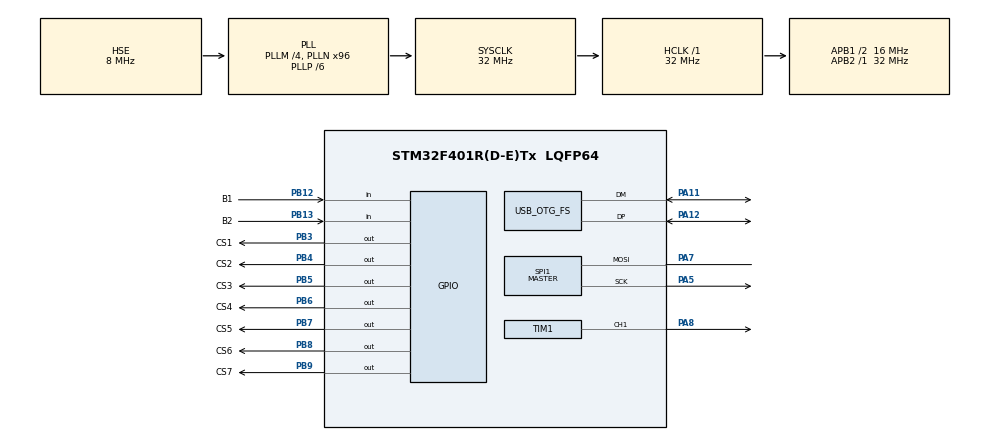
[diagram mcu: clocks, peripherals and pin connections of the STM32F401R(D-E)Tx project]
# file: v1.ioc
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FREERTOS.Tasks01=defaultTask,0,128,StartDefaultTask,Default,NULL,Dynamic,NULL,NULL;commTask,0,256,StartCommTask,Default,NULL,Dynamic,NULL,NULL;sensorTask,0,128,StartSensorTask,Default,NULL,Dynamic,NULL,NULL;motorTask,-3,128,StartMotorTask,Default,NULL,Dynamic,NULL,NULL
FREERTOS.configUSE_NEWLIB_REENTRANT=1
Mcu.Family=STM32F4
Mcu.Name=STM32F401R(D-E)Tx
Mcu.Package=LQFP64
NVIC.OTG_FS_IRQn=true\:5\:0\:false\:false\:true\:true\:true\:true\:true
NVIC.PriorityGroup=NVIC_PRIORITYGROUP_4
NVIC.TIM4_IRQn=true\:15\:0\:false\:false\:true\:false\:false\:true\:true
NVIC.TimeBase=TIM4_IRQn
NVIC.TimeBaseIP=TIM4
PA11.Mode=Device_Only
PA11.Signal=USB_OTG_FS_DM
PA12.Mode=Device_Only
PA12.Signal=USB_OTG_FS_DP
PA13.Mode=Serial_Wire
PA13.Signal=SYS_JTMS-SWDIO
PA14.Mode=Serial_Wire
PA14.Signal=SYS_JTCK-SWCLK
PA5.Mode=Simplex_Bidirectional_Master
PA5.Signal=SPI1_SCK
PA7.Mode=Simplex_Bidirectional_Master
PA7.Signal=SPI1_MOSI
PA8.Signal=S_TIM1_CH1
PB12.GPIO_Label=B1
PB12.Signal=GPIO_Input
PB13.GPIO_Label=B2
PB13.Signal=GPIO_Input
PB3.GPIO_Label=CS1
PB3.Signal=GPIO_Output
PB4.GPIO_Label=CS2
PB4.Signal=GPIO_Output
PB5.GPIO_Label=CS3
PB5.Signal=GPIO_Output
PB6.GPIO_Label=CS4
PB6.Signal=GPIO_Output
PB7.GPIO_Label=CS5
PB7.Signal=GPIO_Output
PB8.GPIO_Label=CS6
PB8.Signal=GPIO_Output
PB9.GPIO_Label=CS7
PB9.Signal=GPIO_Output
PH0\ -\ OSC_IN.Mode=HSE-External-Oscillator
PH0\ -\ OSC_IN.Signal=RCC_OSC_IN
PH1\ -\ OSC_OUT.Mode=HSE-External-Oscillator
PH1\ -\ OSC_OUT.Signal=RCC_OSC_OUT
ProjectManager.HeapSize=0x200
ProjectManager.StackSize=0x400
ProjectManager.TargetToolchain=STM32CubeIDE
RCC.48MHZClocksFreq_Value=48000000
RCC.AHBFreq_Value=32000000
RCC.APB1CLKDivider=RCC_HCLK_DIV2
RCC.APB1Freq_Value=16000000
RCC.APB1TimFreq_Value=32000000
RCC.APB2Freq_Value=32000000
RCC.APB2TimFreq_Value=32000000
RCC.CortexFreq_Value=32000000
RCC.HCLKFreq_Value=32000000
RCC.HSE_VALUE=8000000
RCC.HSI_VALUE=16000000
RCC.PLLM=4
RCC.PLLN=96
RCC.PLLP=RCC_PLLP_DIV6
RCC.RCC_TIM_PRescaler_Selection=RCC_TIMPRES_DESACTIVATED
RCC.SYSCLKFreq_VALUE=32000000
RCC.SYSCLKSource=RCC_SYSCLKSOURCE_PLLCLK
RCC.VCOOutputFreq_Value=192000000
SH.S_TIM1_CH1.0=TIM1_CH1,PWM Generation1 CH1
SPI1.BaudRatePrescaler=SPI_BAUDRATEPRESCALER_8
SPI1.CLKPhase=SPI_PHASE_2EDGE
SPI1.CLKPolarity=SPI_POLARITY_LOW
SPI1.DataSize=SPI_DATASIZE_16BIT
SPI1.Direction=SPI_DIRECTION_1LINE
SPI1.Mode=SPI_MODE_MASTER
SPI1.VirtualType=VM_MASTER
TIM1.Channel-PWM\ Generation1\ CH1=TIM_CHANNEL_1
TIM1.Period=3600
USB_DEVICE.CLASS_NAME_FS=CDC
USB_DEVICE.VirtualMode-CDC_FS=Cdc
USB_DEVICE.VirtualModeFS=Cdc_FS
USB_OTG_FS.Sof_enable=DISABLE
USB_OTG_FS.VirtualMode=Device_Only
VP_FREERTOS_VS_CMSIS_V1.Mode=CMSIS_V1
VP_SYS_VS_tim4.Mode=TIM4
VP_USB_DEVICE_VS_USB_DEVICE_CDC_FS.Mode=CDC_FS
board=custom

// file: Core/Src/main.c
/* USER CODE BEGIN Header */
/**
  ******************************************************************************
  * @file           : main.c
  * @brief          : Main program body
  ******************************************************************************
  * @attention
  *
  * <h2><center>&copy; Copyright (c) 2020 STMicroelectronics.
  * All rights reserved.</center></h2>
  *
  * This software component is licensed by ST under BSD 3-Clause license,
  * the "License"; You may not use this file except in compliance with the
  * License. You may obtain a copy of the License at:
  *                        opensource.org/licenses/BSD-3-Clause
  *
  ******************************************************************************
  */
/* USER CODE END Header */
#include "main.h"
#include "cmsis_os.h"
#include "usb_device.h"

/* USER CODE BEGIN Includes */
#include "DTek_TLE5012B.h"
/* USER CODE END Includes */

SPI_HandleTypeDef hspi1;

TIM_HandleTypeDef htim1;

osThreadId defaultTaskHandle;
osThreadId commTaskHandle;
osThreadId sensorTaskHandle;
osThreadId motorTaskHandle;
/* USER CODE BEGIN PV */

// Sensor communication
errorTypes checkError = NO_ERROR;
errorTypes checkError2 = NO_ERROR;
errorTypes checkError3 = NO_ERROR;
errorTypes checkError4 = NO_ERROR;
errorTypes checkError5 = NO_ERROR;
errorTypes checkError6 = NO_ERROR;
errorTypes checkError7 = NO_ERROR;

uint16_t errorCounter = 0;

// Joint angles
static double angle1_raw = 0.0;
static double angle2_raw = 0.0;
static double angle3_raw = 0.0;
static double angle4_raw = 0.0;
static double angle5_raw = 0.0;
static double angle6_raw = 0.0;
static double angle7_raw = 0.0;

static double angle1_temp = 0.0;
static double angle2_temp = 0.0;
static double angle3_temp = 0.0;
static double angle4_temp = 0.0;
static double angle5_temp = 0.0;
static double angle6_temp = 0.0;
static double angle7_temp = 0.0;

static double angle1 = 0.0;
static double angle2 = 0.0;
static double angle3 = 0.0;
static double angle4 = 0.0;
static double angle5 = 0.0;
static double angle6 = 0.0;
static double angle7 = 0.0;

static double offset1 = -104.25;//0.0;
static double offset2 = 32.37;//0.0;
static double offset3 = 111.05;//0.0;
static double offset4 = 11.1;//0.0;
static double offset5 = -176.17;//0.0;
static double offset6 = 95.75;//0.0;
static double offset7 = 0.0;

// Feedback
static uint8_t feedback = 0;
static uint8_t feedback_temp = 0;
static uint8_t motorPattern = 0;

// Button status
static uint8_t b1Status = 0;
static uint8_t b2Status = 0;

// USB CDC communication
char txBuf[256];
char rxBuf[256];
uint8_t receiveState = 1;
static volatile uint32_t timeStamp = 0;
static volatile uint32_t timeOutGuard = 0;
static volatile uint32_t timeOutGuardMax = 0;
/* USER CODE END PV */

void SystemClock_Config(void);
static void MX_GPIO_Init(void);
static void MX_SPI1_Init(void);
static void MX_TIM1_Init(void);
void StartDefaultTask(void const * argument);
void StartCommTask(void const * argument);
void StartSensorTask(void const * argument);
void StartMotorTask(void const * argument);

/* USER CODE BEGIN 0 */
extern uint8_t CDC_Transmit_FS(uint8_t* Buf, uint16_t Len);
/* USER CODE END 0 */

int main(void)
{

  /* MCU Configuration--------------------------------------------------------*/

  /* Reset of all peripherals, Initializes the Flash interface and the Systick. */
  HAL_Init();

  /* Configure the system clock */
  SystemClock_Config();

  /* Initialize all configured peripherals */
  MX_GPIO_Init();
  MX_SPI1_Init();
  MX_TIM1_Init();
  /* USER CODE BEGIN 2 */
  HAL_TIM_PWM_Start(&htim1, TIM_CHANNEL_1);
  TIM1->CCR1 = 0*3600/100;
  /* USER CODE END 2 */

  /* Create the thread(s) */
  /* definition and creation of defaultTask */
  osThreadDef(defaultTask, StartDefaultTask, osPriorityNormal, 0, 128);
  defaultTaskHandle = osThreadCreate(osThread(defaultTask), NULL);

  /* definition and creation of commTask */
  osThreadDef(commTask, StartCommTask, osPriorityNormal, 0, 256);
  commTaskHandle = osThreadCreate(osThread(commTask), NULL);

  /* definition and creation of sensorTask */
  osThreadDef(sensorTask, StartSensorTask, osPriorityNormal, 0, 128);
  sensorTaskHandle = osThreadCreate(osThread(sensorTask), NULL);

  /* definition and creation of motorTask */
  osThreadDef(motorTask, StartMotorTask, osPriorityIdle, 0, 128);
  motorTaskHandle = osThreadCreate(osThread(motorTask), NULL);

  /* Start scheduler */
  osKernelStart();

  /* We should never get here as control is now taken by the scheduler */
  /* Infinite loop */
  while (1)
  {

  }
}

void SystemClock_Config(void)
{
  RCC_OscInitTypeDef RCC_OscInitStruct = {0};
  RCC_ClkInitTypeDef RCC_ClkInitStruct = {0};

  /** Configure the main internal regulator output voltage
  */
  __HAL_RCC_PWR_CLK_ENABLE();
  __HAL_PWR_VOLTAGESCALING_CONFIG(PWR_REGULATOR_VOLTAGE_SCALE2);

  /** Initializes the RCC Oscillators according to the specified parameters
  * in the RCC_OscInitTypeDef structure.
  */
  RCC_OscInitStruct.OscillatorType = RCC_OSCILLATORTYPE_HSE;
  RCC_OscInitStruct.HSEState = RCC_HSE_ON;
  RCC_OscInitStruct.PLL.PLLState = RCC_PLL_ON;
  RCC_OscInitStruct.PLL.PLLSource = RCC_PLLSOURCE_HSE;
  RCC_OscInitStruct.PLL.PLLM = 4;
  RCC_OscInitStruct.PLL.PLLN = 96;
  RCC_OscInitStruct.PLL.PLLP = RCC_PLLP_DIV6;
  RCC_OscInitStruct.PLL.PLLQ = 4;
  if (HAL_RCC_OscConfig(&RCC_OscInitStruct) != HAL_OK)
  {
    Error_Handler();
  }

  /** Initializes the CPU, AHB and APB buses clocks
  */
  RCC_ClkInitStruct.ClockType = RCC_CLOCKTYPE_HCLK|RCC_CLOCKTYPE_SYSCLK
                              |RCC_CLOCKTYPE_PCLK1|RCC_CLOCKTYPE_PCLK2;
  RCC_ClkInitStruct.SYSCLKSource = RCC_SYSCLKSOURCE_PLLCLK;
  RCC_ClkInitStruct.AHBCLKDivider = RCC_SYSCLK_DIV1;
  RCC_ClkInitStruct.APB1CLKDivider = RCC_HCLK_DIV2;
  RCC_ClkInitStruct.APB2CLKDivider = RCC_HCLK_DIV1;

  if (HAL_RCC_ClockConfig(&RCC_ClkInitStruct, FLASH_LATENCY_1) != HAL_OK)
  {
    Error_Handler();
  }
}

static void MX_SPI1_Init(void)
{

  /* SPI1 parameter configuration*/
  hspi1.Instance = SPI1;
  hspi1.Init.Mode = SPI_MODE_MASTER;
  hspi1.Init.Direction = SPI_DIRECTION_1LINE;
  hspi1.Init.DataSize = SPI_DATASIZE_16BIT;
  hspi1.Init.CLKPolarity = SPI_POLARITY_LOW;
  hspi1.Init.CLKPhase = SPI_PHASE_2EDGE;
  hspi1.Init.NSS = SPI_NSS_SOFT;
  hspi1.Init.BaudRatePrescaler = SPI_BAUDRATEPRESCALER_8;
  hspi1.Init.FirstBit = SPI_FIRSTBIT_MSB;
  hspi1.Init.TIMode = SPI_TIMODE_DISABLE;
  hspi1.Init.CRCCalculation = SPI_CRCCALCULATION_DISABLE;
  hspi1.Init.CRCPolynomial = 10;
  if (HAL_SPI_Init(&hspi1) != HAL_OK)
  {
    Error_Handler();
  }

}

static void MX_TIM1_Init(void)
{

  TIM_MasterConfigTypeDef sMasterConfig = {0};
  TIM_OC_InitTypeDef sConfigOC = {0};
  TIM_BreakDeadTimeConfigTypeDef sBreakDeadTimeConfig = {0};

  htim1.Instance = TIM1;
  htim1.Init.Prescaler = 0;
  htim1.Init.CounterMode = TIM_COUNTERMODE_UP;
  htim1.Init.Period = 3600;
  htim1.Init.ClockDivision = TIM_CLOCKDIVISION_DIV1;
  htim1.Init.RepetitionCounter = 0;
  htim1.Init.AutoReloadPreload = TIM_AUTORELOAD_PRELOAD_DISABLE;
  if (HAL_TIM_PWM_Init(&htim1) != HAL_OK)
  {
    Error_Handler();
  }
  sMasterConfig.MasterOutputTrigger = TIM_TRGO_RESET;
  sMasterConfig.MasterSlaveMode = TIM_MASTERSLAVEMODE_DISABLE;
  if (HAL_TIMEx_MasterConfigSynchronization(&htim1, &sMasterConfig) != HAL_OK)
  {
    Error_Handler();
  }
  sConfigOC.OCMode = TIM_OCMODE_PWM1;
  sConfigOC.Pulse = 0;
  sConfigOC.OCPolarity = TIM_OCPOLARITY_HIGH;
  sConfigOC.OCNPolarity = TIM_OCNPOLARITY_HIGH;
  sConfigOC.OCFastMode = TIM_OCFAST_DISABLE;
  sConfigOC.OCIdleState = TIM_OCIDLESTATE_RESET;
  sConfigOC.OCNIdleState = TIM_OCNIDLESTATE_RESET;
  if (HAL_TIM_PWM_ConfigChannel(&htim1, &sConfigOC, TIM_CHANNEL_1) != HAL_OK)
  {
    Error_Handler();
  }
  sBreakDeadTimeConfig.OffStateRunMode = TIM_OSSR_DISABLE;
  sBreakDeadTimeConfig.OffStateIDLEMode = TIM_OSSI_DISABLE;
  sBreakDeadTimeConfig.LockLevel = TIM_LOCKLEVEL_OFF;
  sBreakDeadTimeConfig.DeadTime = 0;
  sBreakDeadTimeConfig.BreakState = TIM_BREAK_DISABLE;
  sBreakDeadTimeConfig.BreakPolarity = TIM_BREAKPOLARITY_HIGH;
  sBreakDeadTimeConfig.AutomaticOutput = TIM_AUTOMATICOUTPUT_DISABLE;
  if (HAL_TIMEx_ConfigBreakDeadTime(&htim1, &sBreakDeadTimeConfig) != HAL_OK)
  {
    Error_Handler();
  }
  HAL_TIM_MspPostInit(&htim1);

}

static void MX_GPIO_Init(void)
{
  GPIO_InitTypeDef GPIO_InitStruct = {0};

  /* GPIO Ports Clock Enable */
  __HAL_RCC_GPIOH_CLK_ENABLE();
  __HAL_RCC_GPIOA_CLK_ENABLE();
  __HAL_RCC_GPIOB_CLK_ENABLE();

  /*Configure GPIO pin Output Level */
  HAL_GPIO_WritePin(GPIOB, CS1_Pin|CS2_Pin|CS3_Pin|CS4_Pin
                          |CS5_Pin|CS6_Pin|CS7_Pin, GPIO_PIN_RESET);

  /*Configure GPIO pins : B1_Pin B2_Pin */
  GPIO_InitStruct.Pin = B1_Pin|B2_Pin;
  GPIO_InitStruct.Mode = GPIO_MODE_INPUT;
  GPIO_InitStruct.Pull = GPIO_NOPULL;
  HAL_GPIO_Init(GPIOB, &GPIO_InitStruct);

  /*Configure GPIO pins : CS1_Pin CS2_Pin CS3_Pin CS4_Pin
                           CS5_Pin CS6_Pin CS7_Pin */
  GPIO_InitStruct.Pin = CS1_Pin|CS2_Pin|CS3_Pin|CS4_Pin
                          |CS5_Pin|CS6_Pin|CS7_Pin;
  GPIO_InitStruct.Mode = GPIO_MODE_OUTPUT_PP;
  GPIO_InitStruct.Pull = GPIO_NOPULL;
  GPIO_InitStruct.Speed = GPIO_SPEED_FREQ_LOW;
  HAL_GPIO_Init(GPIOB, &GPIO_InitStruct);

}

/* USER CODE BEGIN 4 */

/**
  * @brief EXTI handler
  * @param GPIO_Pin: Triggered pin
  * @retval none
  */
void HAL_GPIO_EXTI_Callback(uint16_t GPIO_Pin)
{
  switch ( GPIO_Pin ) {
  case GPIO_PIN_0:
    if (HAL_GPIO_ReadPin(GPIOB, GPIO_PIN_0)){
      b1Status = 0;
    }
    else {
      b1Status = 1;
    }
    break;
  case GPIO_PIN_1:
	if (HAL_GPIO_ReadPin(GPIOB, GPIO_PIN_1)){
	  b2Status = 0;
	}
	else {
	  b2Status = 1;
	}
	break;
  default:
	break;
  }
}

/**
  * @brief Count characters in char array
  * @param ptr: pointer to char array
  * @retval Number of characters in array
  */
uint16_t SizeofCharArray(char *ptr)
{
  /* Local variables */
  uint16_t len = 0;

  /* Search until end char */
  while (ptr[len] != '\0') {
    len++;
  }
  return len;
}

/* USER CODE END 4 */

void StartDefaultTask(void const * argument)
{
  /* init code for USB_DEVICE */
  MX_USB_DEVICE_Init();
  /* USER CODE BEGIN 5 */
  /* Infinite loop */
  for(;;)
  {
    osDelay(200);
    HAL_GPIO_TogglePin(GPIOC, GPIO_PIN_13);
  }
  /* USER CODE END 5 */
}

void StartCommTask(void const * argument)
{
  /* USER CODE BEGIN StartCommTask */
  uint16_t Len = 0;
  /* Infinite loop */
  for(;;)
  {
	if (receiveState == 1){
	  // Dummy command
	  if ((rxBuf[0] == 'K') && (rxBuf[1] == 'A') && (rxBuf[2] == '\r')){ // KA = Keep alive (response echo)
		__ASM("NOP");
	  }
	  // Clear error counter
	  else if ((rxBuf[0] == 'C') && (rxBuf[1] == 'E') && (rxBuf[2] == 'C') && (rxBuf[3] == '\r')){
		errorCounter = 0;
		sprintf(txBuf, "OK;%s\r\n", rxBuf);
		Len = SizeofCharArray((char*)txBuf);
		CDC_Transmit_FS((uint8_t*)txBuf, Len);
	  }
	  // Read error counter
	  else if ((rxBuf[0] == 'R') && (rxBuf[1] == 'E') && (rxBuf[2] == 'C') && (rxBuf[3] == '\r')){
		sprintf(txBuf, "OK;%s;%d\r\n", rxBuf, errorCounter);
		Len = SizeofCharArray((char*)txBuf);
		CDC_Transmit_FS((uint8_t*)txBuf, Len);
	  }
	  // Read joint offsets
	  else if ((rxBuf[0] == 'R') && (rxBuf[1] == 'O') && (rxBuf[3] == '\r')){
		if (rxBuf[2] == '1') {
			sprintf(txBuf, "OK;%s;%d\r\n", rxBuf, (int16_t)(offset1*100));
		}
		else if (rxBuf[2] == '2') {
			sprintf(txBuf, "OK;%s;%d\r\n", rxBuf, (int16_t)(offset2*100));
		}
		else if (rxBuf[2] == '3') {
			sprintf(txBuf, "OK;%s;%d\r\n", rxBuf, (int16_t)(offset3*100));
		}
		else if (rxBuf[2] == '4') {
			sprintf(txBuf, "OK;%s;%d\r\n", rxBuf, (int16_t)(offset4*100));
		}
		else if (rxBuf[2] == '5') {
			sprintf(txBuf, "OK;%s;%d\r\n", rxBuf, (int16_t)(offset5*100));
		}
		else if (rxBuf[2] == '6') {
			sprintf(txBuf, "OK;%s;%d\r\n", rxBuf, (int16_t)(offset6*100));
		}
		else if (rxBuf[2] == '7') {
			sprintf(txBuf, "OK;%s;%d\r\n", rxBuf, (int16_t)(offset7*100));
		}
		else {
			sprintf(txBuf, "ERR1;%s\r\n", rxBuf);
		}
		Len = SizeofCharArray((char*)txBuf);
		CDC_Transmit_FS((uint8_t*)txBuf, Len);
	  }
	  // Set joint offsets
	  else if ((rxBuf[0] == 'S') && (rxBuf[1] == 'O') && (rxBuf[3] == '\r')){
		//ToDo: implement writing offsets
		sprintf(txBuf, "OK;%s;%s\r\n", rxBuf, "To be implemented...");
		Len = SizeofCharArray((char*)txBuf);
		CDC_Transmit_FS((uint8_t*)txBuf, Len);
	  }
	  // Read device status, returns joint angles and button status
	  else if ((rxBuf[0] == 'R') && (rxBuf[1] == 'D') && (rxBuf[2] == 'S') && (rxBuf[3] == '\r')){
		sprintf(txBuf, "OK;%s;%d;%d;%d;%d;%d;%d;%d;%d;%d\r\n", rxBuf, (int16_t)(angle1*100), (int16_t)(angle2*100), (int16_t)(angle3*100), (int16_t)(angle4*100), (int16_t)(angle5*100), (int16_t)(angle6*100), (int16_t)(angle7*100), b1Status, b2Status);
		Len = SizeofCharArray((char*)txBuf);
		CDC_Transmit_FS((uint8_t*)txBuf, Len);
	  }
	  // Read feedback status 0...100
	  else if ((rxBuf[0] == 'R') && (rxBuf[1] == 'F') && (rxBuf[2] == 'B') && (rxBuf[3] == '\r')){
		sprintf(txBuf, "OK;%s;%d\r\n", rxBuf, feedback);
		Len = SizeofCharArray((char*)txBuf);
		CDC_Transmit_FS((uint8_t*)txBuf, Len);
	  }
	  // Set feedback status 0...100
	  else if ((rxBuf[0] == 'S') && (rxBuf[1] == 'F') && (rxBuf[2] == 'B') && (rxBuf[6] == '\r')){
		feedback_temp = (int16_t)((rxBuf[3]  - '0')*100 + (rxBuf[4]  - '0')*10 + (rxBuf[5]  - '0')*1);
		if (feedback_temp > 100) feedback_temp = 100;
		feedback = feedback_temp;
		sprintf(txBuf, "OK;%s;%d\r\n", rxBuf, feedback);
		Len = SizeofCharArray((char*)txBuf);
		CDC_Transmit_FS((uint8_t*)txBuf, Len);
	  }
	  // Unrecognized command
      else{
        sprintf(txBuf, "ERR2;%s\r\n", rxBuf);
        Len = SizeofCharArray((char*)txBuf);
        CDC_Transmit_FS((uint8_t*)txBuf, Len);
      }
      timeStamp = HAL_GetTick();
      receiveState = 0;
    }

    timeOutGuard = HAL_GetTick() - timeStamp;
    if (timeOutGuard > timeOutGuardMax){
      timeOutGuardMax = timeOutGuard;
    }

    osDelay(10);
  }
  /* USER CODE END StartCommTask */
}

void StartSensorTask(void const * argument)
{
  /* USER CODE BEGIN StartSensorTask */
  SPI_CS_Disable(1);
  SPI_CS_Disable(2);
  SPI_CS_Disable(3);
  SPI_CS_Disable(4);
  SPI_CS_Disable(5);
  SPI_CS_Disable(6);
  SPI_CS_Disable(7);

  checkError = NO_ERROR;
  checkError = readBlockCRC(1);
  if (checkError != NO_ERROR) errorCounter++;
  HAL_Delay(1);

  checkError2 = NO_ERROR;
  checkError2 = readBlockCRC(2);
  if (checkError2 != NO_ERROR) errorCounter++;
  HAL_Delay(1);

  checkError3 = NO_ERROR;
  checkError3 = readBlockCRC(3);
  if (checkError3 != NO_ERROR) errorCounter++;
  HAL_Delay(1);

  checkError4 = NO_ERROR;
  checkError4 = readBlockCRC(4);
  if (checkError4 != NO_ERROR) errorCounter++;
  HAL_Delay(1);

  checkError5 = NO_ERROR;
  checkError5 = readBlockCRC(5);
  if (checkError5 != NO_ERROR) errorCounter++;
  HAL_Delay(1);

  checkError6 = NO_ERROR;
  checkError6 = readBlockCRC(6);
  if (checkError6 != NO_ERROR) errorCounter++;
  HAL_Delay(1);

  checkError7 = NO_ERROR;
  checkError7 = readBlockCRC(7);
  if (checkError7 != NO_ERROR) errorCounter++;
  HAL_Delay(1);

  /* Infinite loop */
  for(;;)
  {
    osDelay(10);

    checkError = NO_ERROR;
    checkError = getAngleValue(&angle1_raw,1);
    if (checkError != NO_ERROR) errorCounter++;
    HAL_Delay(1);

    checkError2 = NO_ERROR;
    checkError2 = getAngleValue(&angle2_raw,2);
    if (checkError2 != NO_ERROR) errorCounter++;
    HAL_Delay(1);

    checkError3 = NO_ERROR;
    checkError3 = getAngleValue(&angle3_raw,3);
    if (checkError3 != NO_ERROR) errorCounter++;
    HAL_Delay(1);

    checkError4 = NO_ERROR;
    checkError4 = getAngleValue(&angle4_raw,4);
    if (checkError4 != NO_ERROR) errorCounter++;

    checkError5 = NO_ERROR;
    checkError5 = getAngleValue(&angle5_raw,5);
    if (checkError5 != NO_ERROR) errorCounter++;
    HAL_Delay(1);

    checkError6 = NO_ERROR;
    checkError6 = getAngleValue(&angle6_raw,6);
    if (checkError6 != NO_ERROR) errorCounter++;

    checkError7 = NO_ERROR;
    checkError7 = getAngleValue(&angle7_raw,7);
    if (checkError7 != NO_ERROR) errorCounter++;

    // processing raw angles

    angle1_temp = angle1_raw - offset1;
    if (angle1_temp >= 0){
    	angle1 = angle1_temp;
    }
    else{
    	angle1 = -1 * (360 - (360 + angle1_temp));
    }

    angle2_temp = -1 * (angle2_raw - offset2);
    if (angle2_temp >= 0){
    	angle2 = angle2_temp;
    }
    else{
    	angle2 = -1 * (360 - (360 + angle2_temp));
    }

// PROBLÉMA
    angle3_temp = angle3_raw;
    if (angle3_temp >= 0){
    	angle3 = angle3_temp - offset3;
    }
    else{
    	angle3 = angle3_temp + offset3;
    }
// PROBLÉMA

    angle4_temp = -1 * (angle4_raw - offset4);
    if (angle4_temp >= 0){
    	angle4 = angle4_temp;
    }
    else{
    	angle4 = -1 * (360 - (360 + angle4_temp));
    }

    angle5_temp = (angle5_raw - offset5);
	if (angle5_temp >= 0){
		angle5 = angle5_temp;
	}
	else{
		angle5 = (360 - (360 + angle5_temp));
	}

	angle6_temp = -1 * (angle6_raw - offset6);
	if (angle6_temp >= 0){
		angle6 = angle6_temp;
	}
	else{
		angle6 = -1 * (360 - (360 + angle6_temp));
	}

	angle7_temp = (angle7_raw - offset7);
	if (angle7_temp >= 0){
		angle7 = angle7_temp;
	}
	else{
		angle7 = (360 + angle7_temp);
	}

  }
  /* USER CODE END StartSensorTask */
}

void StartMotorTask(void const * argument)
{
  /* USER CODE BEGIN StartMotorTask */
  /* Infinite loop */
  for(;;)
  {
    osDelay(10);
//    if (motorPattern == 1){
//
//    	for (int i = 0; i < 10; i++){
//        	TIM1->CCR1 = 40*3600/100;
//        	osDelay(500);
//        	TIM1->CCR1 = 0*3600/100;
//        	osDelay(500);
//    	}
//
//    	motorPattern = 0;
//    }
//    else {
//    	TIM1->CCR1 = feedback*3600/100;
//    }
  }
  /* USER CODE END StartMotorTask */
}

void HAL_TIM_PeriodElapsedCallback(TIM_HandleTypeDef *htim)
{
  if (htim->Instance == TIM4) {
    HAL_IncTick();
  }
}

void Error_Handler(void)
{
}
